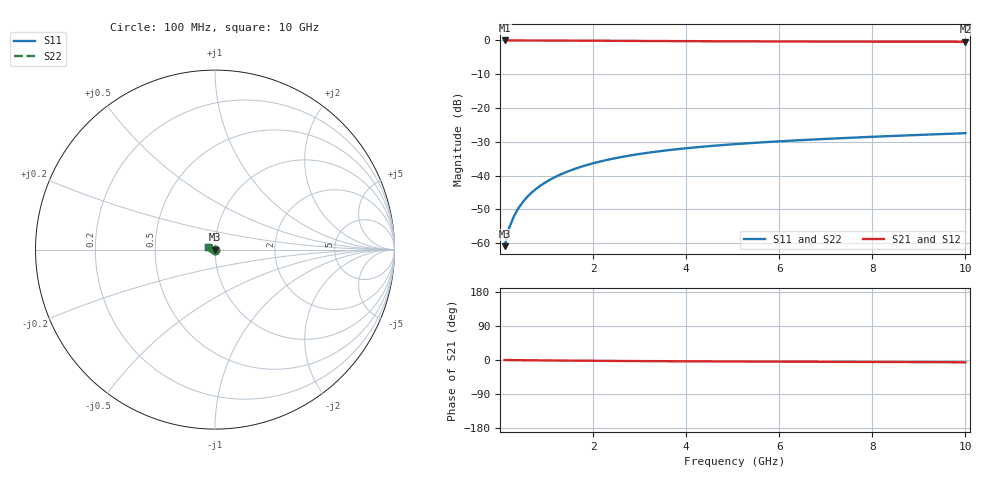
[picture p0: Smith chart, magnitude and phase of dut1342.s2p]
! Touchstone file exported from HFSS 2024.1.0
!  File:  C:/UserFiles/LocalFiles/RDL_TSV_Batchsim/temp_TSV1_1342_1780376438.aedt
!  Generated:  01:07:23 PM Jun  2, 2026
!  Design:  TSV1
!  Project:  temp_TSV1_1342_1780376438
!  Setup:  Setup1
!  Solution:  Sweep
! Variables:
!  dtsv = 6.4um
!  hbump = 3um
!  htsv = 93.13um
!  lrdl = 252.1521522um
!  p = 40
!  p1 = 44.35um
!  t = 500um
!  trdl = 3um
!  wrdl = 24.89489489um
# GHz S MA R 50.000000
! Terminal data exported
! Port[1] = TSV22_T1
! Port[2] = TSV22_T2
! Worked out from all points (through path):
!   100 points, 100 MHz to 10 GHz, reference 50 ohm
!   highest |S21| = 0.00 dB at 100 MHz (marker M1); lowest = -0.4 dB at 10 GHz (marker M2)
!   lowest |S11| = -60.9 dB at 100 MHz (marker M3), VSWR 1.00, Z = 50 - j0.083 ohm
!   |S11| at or under -10 dB: start of sweep to end of sweep
!   |S22| runs from -60.9 to -27.4 dB; largest |S21 - S12| = 9.5e-15
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0.1  0.0009037 -66.6  0.9996 -0.1  0.9996 -0.1  0.0009037 -66.6
! Gamma 0 0 0 0
! Port Impedance 50 0 50 0
0.2  0.001698 -80.5  0.9995 -0.2  0.9995 -0.2  0.001698 -80.5
0.3  0.002513 -86.6  0.9993 -0.3  0.9993 -0.3  0.002513 -86.6
0.4  0.00333 -90.7  0.9991 -0.5  0.9991 -0.5  0.00333 -90.7
0.5  0.004144 -93.8  0.9989 -0.6  0.9989 -0.6  0.004144 -93.8
0.6  0.004954 -96.6  0.9986 -0.7  0.9986 -0.7  0.004954 -96.6
0.7  0.005757 -99.0  0.9983 -0.8  0.9983 -0.8  0.005757 -99.0
0.8  0.006553 -101.3  0.9979 -0.9  0.9979 -0.9  0.006553 -101.3
0.9  0.00734 -103.5  0.9975 -1.0  0.9975 -1.0  0.00734 -103.5
1.1  0.008883 -107.6  0.9965 -1.2  0.9965 -1.2  0.008883 -107.6
1.4  0.01111 -113.3  0.9948 -1.5  0.9948 -1.5  0.01111 -113.3
1.6  0.01253 -116.9  0.9935 -1.7  0.9935 -1.7  0.01253 -116.9
1.8  0.01389 -120.4  0.9921 -1.9  0.9921 -1.9  0.01389 -120.4
2.1  0.01583 -125.3  0.9899 -2.2  0.9899 -2.2  0.01584 -125.3
2.5  0.01822 -131.6  0.9869 -2.5  0.9869 -2.5  0.01822 -131.6
2.9  0.02039 -137.4  0.9839 -2.8  0.9839 -2.8  0.02039 -137.4
3.4  0.02282 -144.2  0.9803 -3.1  0.9803 -3.1  0.02283 -144.2
4.2  0.02618 -153.9  0.9751 -3.5  0.9751 -3.5  0.02618 -153.9
5.1  0.02937 -163.4  0.9702 -4.0  0.9702 -4.0  0.02938 -163.4
6.7  0.03412 -177.5  0.9635 -4.6  0.9635 -4.6  0.03412 -177.5
8.4  0.03852 170.5  0.9586 -5.3  0.9586 -5.3  0.03852 170.5
10  0.04243 161.1  0.9554 -6.0  0.9554 -6.0  0.04243 161.1
